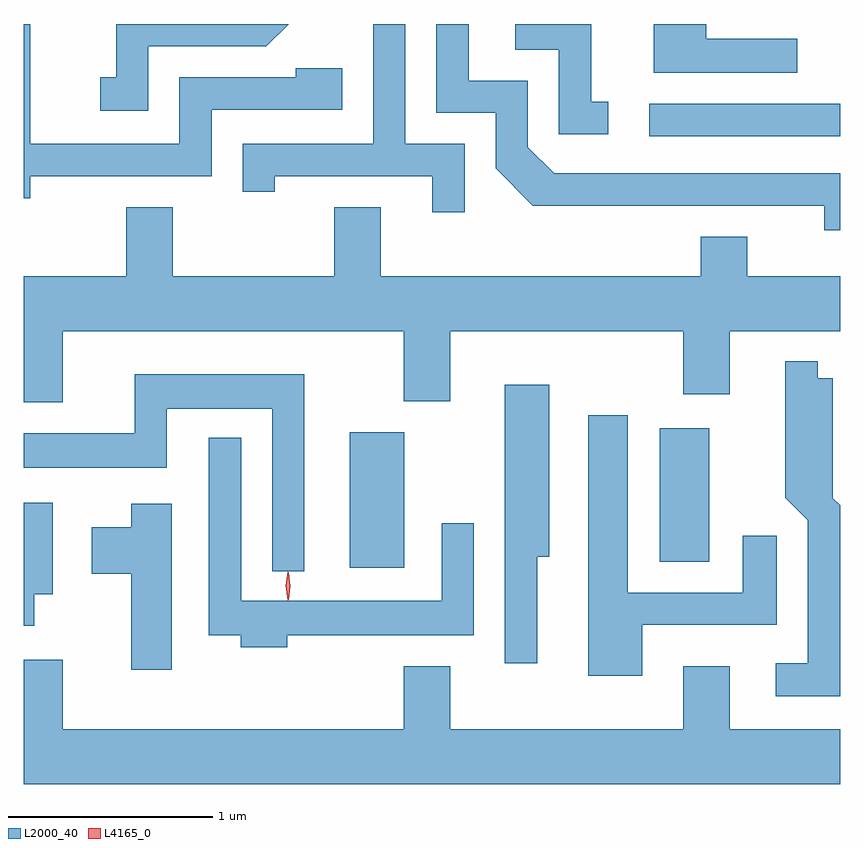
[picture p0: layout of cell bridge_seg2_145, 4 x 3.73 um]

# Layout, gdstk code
import gdstk
lib = gdstk.Library(unit=1e-6, precision=1e-09)
def R(c, l, rs):  # rectangles x0, y0, x1, y1
    for r in rs: c.add(gdstk.rectangle(r[:2], r[2:], *l))
def P(c, l, *ps):  # polygons
    for p in ps: c.add(gdstk.Polygon(p, *l))
L2000_40 = (2000, 40)
L4165_0 = (4165, 0)

bridge_seg2_145 = lib.new_cell('bridge_seg2_145')
R(bridge_seg2_145, L2000_40, [(1063.666,1104.876,1063.934,1105.539), (1065.186,1104.906,1065.429,1105.559), (1065.133,1106.991,1066.069,1107.149)])
P(bridge_seg2_145, L2000_40, [(1065.858,1107.469),(1065.414,1107.469),(1065.414,1107.541),(1065.156,1107.541),(1065.156,1107.301),(1065.858,1107.301)],
  [(1062.099,1106.796),(1062.989,1106.796),(1062.989,1107.121),(1063.629,1107.121),(1063.629,1107.324),(1063.401,1107.324),(1063.401,1107.279),(1062.831,1107.279),(1062.831,1106.954),(1062.099,1106.954),(1062.099,1107.541),(1062.069,1107.541),(1062.069,1106.686),(1062.099,1106.686)],
  [(1064.933,1107.159),(1064.849,1107.159),(1064.849,1107.541),(1064.476,1107.541),(1064.476,1107.416),(1064.691,1107.416),(1064.691,1107.001),(1064.933,1107.001)],
  [(1066.069,1106.809),(1064.667,1106.809),(1064.539,1106.937),(1064.539,1107.264),(1064.249,1107.264),(1064.249,1107.541),(1064.091,1107.541),(1064.091,1107.106),(1064.381,1107.106),(1064.381,1106.834),(1064.564,1106.651),(1065.991,1106.651),(1065.991,1106.531),(1066.069,1106.531)],
  [(1062.679,1107.431),(1063.257,1107.431),(1063.367,1107.541),(1062.521,1107.541),(1062.521,1107.279),(1062.443,1107.279),(1062.443,1107.116),(1062.679,1107.116)],
  [(1064.229,1106.954),(1063.939,1106.954),(1063.939,1107.541),(1063.781,1107.541),(1063.781,1106.954),(1063.141,1106.954),(1063.141,1106.718),(1063.299,1106.718),(1063.299,1106.796),(1064.071,1106.796),(1064.071,1106.618),(1064.229,1106.618)],
  [(1062.259,1106.036),(1063.931,1106.036),(1063.931,1105.691),(1064.159,1105.691),(1064.159,1106.036),(1065.301,1106.036),(1065.301,1105.726),(1065.529,1105.726),(1065.529,1106.036),(1066.069,1106.036),(1066.069,1106.304),(1065.614,1106.304),(1065.614,1106.499),(1065.386,1106.499),(1065.386,1106.304),(1063.819,1106.304),(1063.819,1106.644),(1063.591,1106.644),(1063.591,1106.304),(1062.799,1106.304),(1062.799,1106.644),(1062.571,1106.644),(1062.571,1106.304),(1062.069,1106.304),(1062.069,1105.686),(1062.259,1105.686)],
  [(1066.069,1105.182),(1066.034,1105.217),(1066.034,1105.804),(1065.959,1105.804),(1065.959,1105.888),(1065.801,1105.888),(1065.801,1105.219),(1065.911,1105.109),(1065.911,1104.409),(1065.753,1104.409),(1065.753,1104.246),(1066.069,1104.246)],
  [(1063.444,1105.824),(1062.611,1105.824),(1062.611,1105.534),(1062.069,1105.534),(1062.069,1105.366),(1062.769,1105.366),(1062.769,1105.656),(1063.286,1105.656),(1063.286,1104.858),(1063.444,1104.858)],
  [(1064.584,1104.931),(1064.644,1104.931),(1064.644,1105.774),(1064.426,1105.774),(1064.426,1104.408),(1064.584,1104.408)],
  [(1065.099,1104.596),(1065.759,1104.596),(1065.759,1105.033),(1065.591,1105.033),(1065.591,1104.754),(1065.029,1104.754),(1065.029,1105.624),(1064.836,1105.624),(1064.836,1104.346),(1065.099,1104.346)],
  [(1063.359,1104.546),(1064.274,1104.546),(1064.274,1105.093),(1064.116,1105.093),(1064.116,1104.714),(1063.134,1104.714),(1063.134,1105.513),(1062.976,1105.513),(1062.976,1104.546),(1063.131,1104.546),(1063.131,1104.486),(1063.359,1104.486)],
  [(1062.119,1104.746),(1062.209,1104.746),(1062.209,1105.194),(1062.069,1105.194),(1062.069,1104.591),(1062.119,1104.591)],
  [(1062.794,1105.189),(1062.596,1105.189),(1062.596,1105.074),(1062.401,1105.074),(1062.401,1104.846),(1062.596,1104.846),(1062.596,1104.376),(1062.794,1104.376)],
  [(1066.069,1104.084),(1065.529,1104.084),(1065.529,1104.394),(1065.301,1104.394),(1065.301,1104.084),(1064.159,1104.084),(1064.159,1104.394),(1063.931,1104.394),(1063.931,1104.084),(1062.259,1104.084),(1062.259,1104.424),(1062.069,1104.424),(1062.069,1103.816),(1066.069,1103.816)])
P(bridge_seg2_145, L4165_0, [(1063.362,1104.717),(1063.353,1104.787),(1063.362,1104.856),(1063.363,1104.856),(1063.363,1104.856),(1063.373,1104.787),(1063.363,1104.717),(1063.363,1104.717)],
  [(1063.365,1104.719),(1063.364,1104.72),(1063.355,1104.786),(1063.364,1104.852),(1063.365,1104.853),(1063.366,1104.852),(1063.375,1104.786),(1063.366,1104.72)])

lib.write_gds('bridge_seg2_145.gds')
